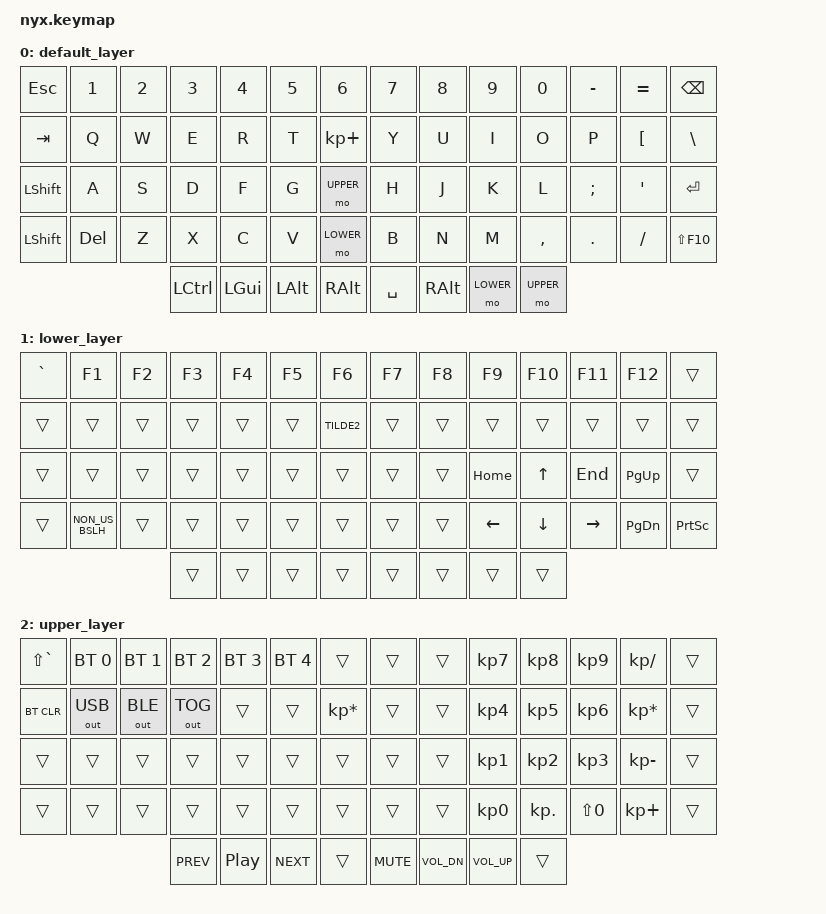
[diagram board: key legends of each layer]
/* -*- mode: dts; -*-
 *
 * Copyright (c) 2020 Tad Fisher
 *
 * SPDX-License-Identifier: MIT
 */

#include <behaviors.dtsi>
#include <dt-bindings/zmk/keys.h>
#include <dt-bindings/zmk/bt.h>
#include <dt-bindings/zmk/outputs.h>

#define DEFAULT 0
#define LOWER   1
#define UPPER   2

/ {
    behaviors {
        // This is mod-tap with the "balanced" flavor.
        // Improves the '&mt RCTRL SPACE' behavior when typing quickly.
        bmt: balanced_mod_tap {
			compatible = "zmk,behavior-hold-tap";
			label = "MOD_TAP";
			#binding-cells = <2>;
			flavor = "balanced";
			tapping-term-ms = <200>;
			bindings = <&kp>, <&kp>;
        };
    };
    keymap {
        compatible = "zmk,keymap";

        default_layer {
            // | `       | 1    | 2    | 3      | 4       | 5       | -                        | =              | 6          | 7       | 8       | 9     | 0      |         |
            // | ]       | Q    | W    | E      | R       | T       | //                       | \\             | Y          | U       | I       | O     | P      | [       |
            // | (       | A    | S    | D      | F       | G       | ESC                      | TAB            | H          | J       | K       | L     | ;      | )       |
            // | LSHIFT  | Z    | X    | C      | V       | B       | DEL                      | BSPC           | N          | M       | ,       | .     | '      | RSHIFT  |
            // |         |      |      | LGUI   | FN      | LCTL    | LALT                     | SPC            | RET        | RCTL    | RALT    |       |        |         |
            bindings = <
                &kp ESC    &kp N1    &kp N2    &kp N3     &kp N4    &kp N5    &kp N6            &kp N7      &kp N8    &kp N9    &kp N0    &kp MINUS  &kp EQUAL  &kp BSPC
                &kp TAB    &kp Q     &kp W     &kp E      &kp R     &kp T     &kp KP_PLUS       &kp Y       &kp U     &kp I     &kp O     &kp P      &kp LBKT   &kp BSLH    
                &kp LSHFT  &kp A     &kp S     &kp D      &kp F     &kp G     &mo UPPER         &kp H       &kp J     &kp K     &kp L     &kp SEMI   &kp APOS   &kp RET
                &kp LSHFT  &kp DEL   &kp Z     &kp X      &kp C     &kp V     &mo LOWER         &kp B       &kp N     &kp M     &kp COMMA &kp DOT    &kp FSLH   &kp LS(F10)
                                               &kp LCTRL  &kp LGUI  &kp LALT  &kp RALT          &kp SPACE   &kp RALT  &mo LOWER &mo UPPER
            >;
        };

        lower_layer {
            // |      | F1   | F2     | F3      | F4     | F5  |     |      | F6                | F7     | F8     | F9      | F10   | F11   |
            // |      |      |        |         |        |     |     |      |                   |        |        |         |       | F12   |
            // |      |      |        |         |        |     |     |      |                   |        |        |         |       |       |
            // |      |      |        |         |        |     |     |      |                   |        |        |         |       |       |
            // |      |      |        |         |        |     |     |      |                   |        |        |         |       |       |
            bindings = <     
                &kp GRAVE &kp F1          &kp F2   &kp F3    &kp F4  &kp F5  &kp F6             &kp F7   &kp F8    &kp F9     &kp F10    &kp F11     &kp F12     &trans
                &trans    &trans          &trans   &trans    &trans  &trans  &kp TILDE2         &trans   &trans    &trans     &trans     &trans      &trans      &trans
                &trans    &trans          &trans   &trans    &trans  &trans  &trans             &trans   &trans    &kp HOME   &kp UP     &kp END     &kp PG_UP   &trans
                &trans    &kp NON_US_BSLH &trans   &trans    &trans  &trans  &trans             &trans   &trans    &kp LEFT   &kp DOWN   &kp RIGHT   &kp PG_DN   &kp PSCRN
                                                   &trans    &trans  &trans  &trans             &trans   &trans    &trans     &trans

            >;
        };

        upper_layer {
            // | BT_CLR   | BT_SEL 0   | BT_SEL 1   | BT_SEL 2   | BT_SEL 3   | BT_SEL 4    |      |      |      |      |      |      |      |      |
            // | OUT_USB  | OUT_BLE    |            |            |            |             |      |      |      |      |      |      |      |      |
            // |          |            |            |            |            |             |      |      |      |      |      |      |      |      |
            // |          |            |            |            |            |             |      |      |      |      |      |      |      |      |
            // |          |            |            |            |            |             |      |      |      |      |      |      |      |      |
            bindings = <       
                &kp LS(GRAVE) &bt BT_SEL 0  &bt BT_SEL 1   &bt BT_SEL 2 &bt BT_SEL 3         &bt BT_SEL 4 &trans             &trans      &trans        &kp KP_N7      &kp KP_N8   &kp KP_N9     &kp KP_DIVIDE     &trans
                &bt BT_CLR    &out OUT_USB  &out OUT_BLE   &out OUT_TOG &trans               &trans       &kp KP_MULTIPLY    &trans      &trans        &kp KP_N4      &kp KP_N5   &kp KP_N6     &kp KP_MULTIPLY   &trans
                &trans        &trans        &trans         &trans       &trans               &trans       &trans             &trans      &trans        &kp KP_N1      &kp KP_N2   &kp KP_N3     &kp KP_MINUS      &trans
                &trans        &trans        &trans         &trans       &trans               &trans       &trans             &trans      &trans        &kp KP_N0      &kp KP_DOT  &kp LS(N0)    &kp KP_PLUS       &trans
                                                           &kp C_PREV   &kp C_PLAY_PAUSE     &kp C_NEXT   &trans             &kp C_MUTE  &kp C_VOL_DN  &kp C_VOL_UP   &trans

            >;
        };
    };

    combos {
        compatible = "zmk,combos";
        combo_upperl {
            timeout-ms = <50>;
            key-positions = <56 57>;
            bindings = <&mo UPPER>;
        };
        combo_upperr {
            timeout-ms = <50>;
            key-positions = <62 63>;
            bindings = <&mo UPPER>;
        };
    };
};
